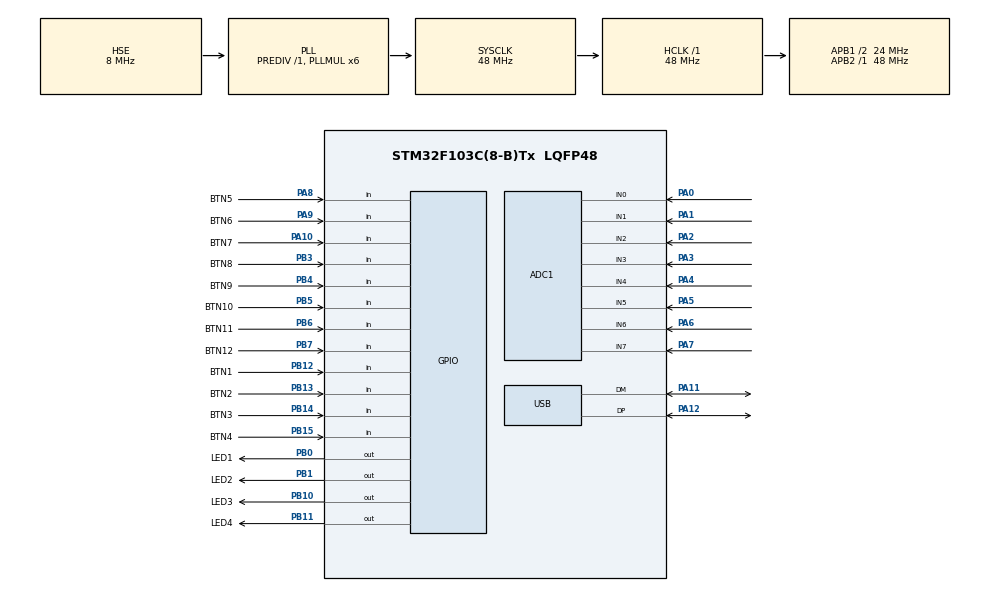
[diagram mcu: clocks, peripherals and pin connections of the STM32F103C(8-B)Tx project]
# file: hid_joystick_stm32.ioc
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ADC1.Channel-0\#ChannelRegularConversion=ADC_CHANNEL_0
ADC1.Channel-1\#ChannelRegularConversion=ADC_CHANNEL_1
ADC1.Channel-2\#ChannelRegularConversion=ADC_CHANNEL_2
ADC1.Channel-3\#ChannelRegularConversion=ADC_CHANNEL_3
ADC1.Channel-4\#ChannelRegularConversion=ADC_CHANNEL_4
ADC1.Channel-5\#ChannelRegularConversion=ADC_CHANNEL_5
ADC1.Channel-6\#ChannelRegularConversion=ADC_CHANNEL_6
ADC1.Channel-7\#ChannelRegularConversion=ADC_CHANNEL_7
ADC1.ContinuousConvMode=DISABLE
ADC1.DataAlign=ADC_DATAALIGN_RIGHT
ADC1.DiscontinuousConvMode=DISABLE
ADC1.EnableAnalogWatchDog=false
ADC1.EnableRegularConversion=ENABLE
ADC1.ExternalTrigConv=ADC_EXTERNALTRIGCONV_T3_TRGO
ADC1.InjNumberOfConversion=0
ADC1.NbrOfConversion=8
ADC1.NbrOfConversionFlag=1
ADC1.Rank-0\#ChannelRegularConversion=1
ADC1.Rank-1\#ChannelRegularConversion=2
ADC1.Rank-2\#ChannelRegularConversion=3
ADC1.Rank-3\#ChannelRegularConversion=4
ADC1.Rank-4\#ChannelRegularConversion=5
ADC1.Rank-5\#ChannelRegularConversion=6
ADC1.Rank-6\#ChannelRegularConversion=7
ADC1.Rank-7\#ChannelRegularConversion=8
ADC1.SamplingTime-0\#ChannelRegularConversion=ADC_SAMPLETIME_1CYCLE_5
ADC1.SamplingTime-1\#ChannelRegularConversion=ADC_SAMPLETIME_1CYCLE_5
ADC1.SamplingTime-2\#ChannelRegularConversion=ADC_SAMPLETIME_1CYCLE_5
ADC1.SamplingTime-3\#ChannelRegularConversion=ADC_SAMPLETIME_1CYCLE_5
ADC1.SamplingTime-4\#ChannelRegularConversion=ADC_SAMPLETIME_1CYCLE_5
ADC1.SamplingTime-5\#ChannelRegularConversion=ADC_SAMPLETIME_1CYCLE_5
ADC1.SamplingTime-6\#ChannelRegularConversion=ADC_SAMPLETIME_1CYCLE_5
ADC1.SamplingTime-7\#ChannelRegularConversion=ADC_SAMPLETIME_1CYCLE_5
ADC1.ScanConvMode=ADC_SCAN_ENABLE
ADC1.master=1
Dma.ADC1.0.Direction=DMA_PERIPH_TO_MEMORY
Dma.ADC1.0.Instance=DMA1_Channel1
Dma.ADC1.0.MemDataAlignment=DMA_MDATAALIGN_HALFWORD
Dma.ADC1.0.MemInc=DMA_MINC_ENABLE
Dma.ADC1.0.Mode=DMA_CIRCULAR
Dma.ADC1.0.PeriphDataAlignment=DMA_PDATAALIGN_HALFWORD
Dma.ADC1.0.PeriphInc=DMA_PINC_DISABLE
Dma.ADC1.0.Priority=DMA_PRIORITY_MEDIUM
Dma.Request0=ADC1
Mcu.Family=STM32F1
Mcu.Name=STM32F103C(8-B)Tx
Mcu.Package=LQFP48
NVIC.DMA1_Channel1_IRQn=true\:0\:0\:false\:false\:true\:true
NVIC.PriorityGroup=NVIC_PRIORITYGROUP_4
NVIC.USB_LP_CAN1_RX0_IRQn=true\:0\:0\:false\:false\:true\:true
PA0-WKUP.Signal=ADCx_IN0
PA1.Signal=ADCx_IN1
PA10.GPIO_Label=BTN7
PA10.GPIO_PuPd=GPIO_PULLUP
PA10.Signal=GPIO_Input
PA11.Mode=Device
PA11.Signal=USB_DM
PA12.Mode=Device
PA12.Signal=USB_DP
PA13.Mode=Serial_Wire
PA13.Signal=SYS_JTMS-SWDIO
PA14.Mode=Serial_Wire
PA14.Signal=SYS_JTCK-SWCLK
PA2.Signal=ADCx_IN2
PA3.Signal=ADCx_IN3
PA4.Signal=ADCx_IN4
PA5.Signal=ADCx_IN5
PA6.Signal=ADCx_IN6
PA7.Signal=ADCx_IN7
PA8.GPIO_Label=BTN5
PA8.GPIO_PuPd=GPIO_PULLUP
PA8.Signal=GPIO_Input
PA9.GPIO_Label=BTN6
PA9.GPIO_PuPd=GPIO_PULLUP
PA9.Signal=GPIO_Input
PB0.GPIO_Label=LED1
PB0.Signal=GPIO_Output
PB1.GPIO_Label=LED2
PB1.Signal=GPIO_Output
PB10.GPIO_Label=LED3
PB10.Signal=GPIO_Output
PB11.GPIO_Label=LED4
PB11.Signal=GPIO_Output
PB12.GPIO_Label=BTN1
PB12.GPIO_PuPd=GPIO_PULLUP
PB12.Signal=GPIO_Input
PB13.GPIO_Label=BTN2
PB13.GPIO_PuPd=GPIO_PULLUP
PB13.Signal=GPIO_Input
PB14.GPIO_Label=BTN3
PB14.GPIO_PuPd=GPIO_PULLUP
PB14.Signal=GPIO_Input
PB15.GPIO_Label=BTN4
PB15.GPIO_PuPd=GPIO_PULLUP
PB15.Signal=GPIO_Input
PB3.GPIO_Label=BTN8
PB3.GPIO_PuPd=GPIO_PULLUP
PB3.Signal=GPIO_Input
PB4.GPIO_Label=BTN9
PB4.GPIO_PuPd=GPIO_PULLUP
PB4.Signal=GPIO_Input
PB5.GPIO_Label=BTN10
PB5.GPIO_PuPd=GPIO_PULLUP
PB5.Signal=GPIO_Input
PB6.GPIO_Label=BTN11
PB6.GPIO_PuPd=GPIO_PULLUP
PB6.Signal=GPIO_Input
PB7.GPIO_Label=BTN12
PB7.GPIO_PuPd=GPIO_PULLUP
PB7.Signal=GPIO_Input
PD0-OSC_IN.Mode=HSE-External-Oscillator
PD0-OSC_IN.Signal=RCC_OSC_IN
PD1-OSC_OUT.Mode=HSE-External-Oscillator
PD1-OSC_OUT.Signal=RCC_OSC_OUT
ProjectManager.HeapSize=0x200
ProjectManager.StackSize=0x400
ProjectManager.TargetToolchain=MDK-ARM V5
RCC.ADCPresc=RCC_ADCPCLK2_DIV4
RCC.AHBFreq_Value=48000000
RCC.APB1CLKDivider=RCC_HCLK_DIV2
RCC.APB1Freq_Value=24000000
RCC.APB1TimFreq_Value=48000000
RCC.APB2Freq_Value=48000000
RCC.APB2TimFreq_Value=48000000
RCC.HCLKFreq_Value=48000000
RCC.PLLMUL=RCC_PLL_MUL6
RCC.SYSCLKFreq_VALUE=48000000
RCC.SYSCLKSource=RCC_SYSCLKSOURCE_PLLCLK
RCC.USBFreq_Value=48000000
SH.ADCx_IN0.0=ADC1_IN0,IN0
SH.ADCx_IN1.0=ADC1_IN1,IN1
SH.ADCx_IN2.0=ADC1_IN2,IN2
SH.ADCx_IN3.0=ADC1_IN3,IN3
SH.ADCx_IN4.0=ADC1_IN4,IN4
SH.ADCx_IN5.0=ADC1_IN5,IN5
SH.ADCx_IN6.0=ADC1_IN6,IN6
SH.ADCx_IN7.0=ADC1_IN7,IN7
TIM3.Period=1000
TIM3.Prescaler=48
TIM3.TIM_MasterOutputTrigger=TIM_TRGO_UPDATE
USB.ep0_mps=DEP0CTL_MPS_64
USB_DEVICE.CLASS_NAME_FS=HID
USB_DEVICE.MANUFACTURER_STRING=STMicroelectronics
USB_DEVICE.PID_HID_FS=0x5757
USB_DEVICE.PRODUCT_STRING_HID_FS=FeelCustom OpenJoy
USB_DEVICE.VID=0x0483
USB_DEVICE.VirtualMode=Hid
USB_DEVICE.VirtualModeFS=Hid_FS
VP_TIM3_VS_ClockSourceINT.Mode=Internal
VP_USB_DEVICE_VS_USB_DEVICE_HID_FS.Mode=HID_FS
board=hid_joystick_stm32

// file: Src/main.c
/**
  ******************************************************************************
  * File Name          : main.c
  * Description        : Main program body
  ******************************************************************************
  * This notice applies to any and all portions of this file
  * that are not between comment pairs USER CODE BEGIN and
  * USER CODE END. Other portions of this file, whether
  * inserted by the user or by software development tools
  * are owned by their respective copyright owners.
  *
  * Copyright (c) 2018 STMicroelectronics International N.V.
  * All rights reserved.
  *
  * Redistribution and use in source and binary forms, with or without
  * modification, are permitted, provided that the following conditions are met:
  *
  * 1. Redistribution of source code must retain the above copyright notice,
  *    this list of conditions and the following disclaimer.
  * 2. Redistributions in binary form must reproduce the above copyright notice,
  *    this list of conditions and the following disclaimer in the documentation
  *    and/or other materials provided with the distribution.
  * 3. Neither the name of STMicroelectronics nor the names of other
  *    contributors to this software may be used to endorse or promote products
  *    derived from this software without specific written permission.
  * 4. This software, including modifications and/or derivative works of this
  *    software, must execute solely and exclusively on microcontroller or
  *    microprocessor devices manufactured by or for STMicroelectronics.
  * 5. Redistribution and use of this software other than as permitted under
  *    this license is void and will automatically terminate your rights under
  *    this license.
  *
  * THIS SOFTWARE IS PROVIDED BY STMICROELECTRONICS AND CONTRIBUTORS "AS IS"
  * AND ANY EXPRESS, IMPLIED OR STATUTORY WARRANTIES, INCLUDING, BUT NOT
  * LIMITED TO, THE IMPLIED WARRANTIES OF MERCHANTABILITY, FITNESS FOR A
  * PARTICULAR PURPOSE AND NON-INFRINGEMENT OF THIRD PARTY INTELLECTUAL PROPERTY
  * RIGHTS ARE DISCLAIMED TO THE FULLEST EXTENT PERMITTED BY LAW. IN NO EVENT
  * SHALL STMICROELECTRONICS OR CONTRIBUTORS BE LIABLE FOR ANY DIRECT, INDIRECT,
  * INCIDENTAL, SPECIAL, EXEMPLARY, OR CONSEQUENTIAL DAMAGES (INCLUDING, BUT NOT
  * LIMITED TO, PROCUREMENT OF SUBSTITUTE GOODS OR SERVICES; LOSS OF USE, DATA,
  * OR PROFITS; OR BUSINESS INTERRUPTION) HOWEVER CAUSED AND ON ANY THEORY OF
  * LIABILITY, WHETHER IN CONTRACT, STRICT LIABILITY, OR TORT (INCLUDING
  * NEGLIGENCE OR OTHERWISE) ARISING IN ANY WAY OUT OF THE USE OF THIS SOFTWARE,
  * EVEN IF ADVISED OF THE POSSIBILITY OF SUCH DAMAGE.
  *
  ******************************************************************************
  */
#include "main.h"
#include "stm32f1xx_hal.h"
#include "adc.h"
#include "dma.h"
#include "tim.h"
#include "usb_device.h"
#include "gpio.h"

/* USER CODE BEGIN Includes */
#include "usbd_hid.h"

/* USER CODE END Includes */

/* USER CODE BEGIN PV */
/* Private variables ---------------------------------------------------------*/
volatile uint8_t data_ready = 0;

#if (AXIS_NUM > 0)
uint32_t filter_buf[AXIS_NUM][FILTER_WINDOW_SIZE];
#endif
uint16_t report_data[AXIS_NUM + BUTTONS_ENABLED];

uint16_t buttons_state;
uint16_t ADC_data[ADC_CHANNELS_NUM];

/* USER CODE END PV */

void SystemClock_Config(void);

/* USER CODE BEGIN PFP */
/* Private function prototypes -----------------------------------------------*/
uint16_t FilterWindow (uint32_t * p_buf, uint16_t new_val);

/* USER CODE END PFP */

int main(void)
{

  /* MCU Configuration----------------------------------------------------------*/

  /* Reset of all peripherals, Initializes the Flash interface and the Systick. */
  HAL_Init();

  /* Configure the system clock */
  SystemClock_Config();

  /* Initialize all configured peripherals */
  MX_GPIO_Init();
  MX_DMA_Init();
  MX_USB_DEVICE_Init();
  MX_ADC1_Init();
  MX_TIM3_Init();

  /* USER CODE BEGIN 2 */
	if(HAL_TIM_Base_Start_IT(&htim3) != HAL_OK) Error_Handler();
  if(HAL_ADC_Start_DMA(&hadc1,(uint32_t*)&ADC_data[0],8*sizeof(uint16_t)) != HAL_OK) Error_Handler();
  /* USER CODE END 2 */

  /* Infinite loop */
  while (1)
  {

  /* USER CODE BEGIN 3 */
		if (data_ready != 0)
		{
			GPIO_Poll(&buttons_state);

#if (AXIS_NUM > 0)
				for (uint8_t i=0; i<AXIS_NUM; i++)
					report_data[i] = FilterWindow(filter_buf[i], ADC_data[i]);
#endif

#if (BUTTONS_ENABLED == 1)
			report_data[AXIS_NUM] = buttons_state;
#endif

			USBD_HID_SendReport(&hUsbDeviceFS, (uint8_t*) &report_data, (AXIS_NUM + BUTTONS_ENABLED)*sizeof(uint16_t));
			data_ready = 0;
		}
  }
  /* USER CODE END 3 */

}

/** System Clock Configuration
*/
void SystemClock_Config(void)
{

  RCC_OscInitTypeDef RCC_OscInitStruct;
  RCC_ClkInitTypeDef RCC_ClkInitStruct;
  RCC_PeriphCLKInitTypeDef PeriphClkInit;

    /**Initializes the CPU, AHB and APB busses clocks
    */
  RCC_OscInitStruct.OscillatorType = RCC_OSCILLATORTYPE_HSE;
  RCC_OscInitStruct.HSEState = RCC_HSE_ON;
  RCC_OscInitStruct.HSEPredivValue = RCC_HSE_PREDIV_DIV1;
  RCC_OscInitStruct.HSIState = RCC_HSI_ON;
  RCC_OscInitStruct.PLL.PLLState = RCC_PLL_ON;
  RCC_OscInitStruct.PLL.PLLSource = RCC_PLLSOURCE_HSE;
  RCC_OscInitStruct.PLL.PLLMUL = RCC_PLL_MUL6;
  if (HAL_RCC_OscConfig(&RCC_OscInitStruct) != HAL_OK)
  {
    _Error_Handler(__FILE__, __LINE__);
  }

    /**Initializes the CPU, AHB and APB busses clocks
    */
  RCC_ClkInitStruct.ClockType = RCC_CLOCKTYPE_HCLK|RCC_CLOCKTYPE_SYSCLK
                              |RCC_CLOCKTYPE_PCLK1|RCC_CLOCKTYPE_PCLK2;
  RCC_ClkInitStruct.SYSCLKSource = RCC_SYSCLKSOURCE_PLLCLK;
  RCC_ClkInitStruct.AHBCLKDivider = RCC_SYSCLK_DIV1;
  RCC_ClkInitStruct.APB1CLKDivider = RCC_HCLK_DIV2;
  RCC_ClkInitStruct.APB2CLKDivider = RCC_HCLK_DIV1;

  if (HAL_RCC_ClockConfig(&RCC_ClkInitStruct, FLASH_LATENCY_1) != HAL_OK)
  {
    _Error_Handler(__FILE__, __LINE__);
  }

  PeriphClkInit.PeriphClockSelection = RCC_PERIPHCLK_ADC|RCC_PERIPHCLK_USB;
  PeriphClkInit.AdcClockSelection = RCC_ADCPCLK2_DIV4;
  PeriphClkInit.UsbClockSelection = RCC_USBCLKSOURCE_PLL;
  if (HAL_RCCEx_PeriphCLKConfig(&PeriphClkInit) != HAL_OK)
  {
    _Error_Handler(__FILE__, __LINE__);
  }

    /**Configure the Systick interrupt time
    */
  HAL_SYSTICK_Config(HAL_RCC_GetHCLKFreq()/1000);

    /**Configure the Systick
    */
  HAL_SYSTICK_CLKSourceConfig(SYSTICK_CLKSOURCE_HCLK);

  /* SysTick_IRQn interrupt configuration */
  HAL_NVIC_SetPriority(SysTick_IRQn, 0, 0);
}

/* USER CODE BEGIN 4 */

uint16_t FilterWindow (uint32_t * p_buf, uint16_t new_val)
{
	uint16_t ret;

	p_buf[FILTER_WINDOW_SIZE-1] = new_val;

	for (uint8_t i=2; i<=FILTER_WINDOW_SIZE; i++)
	{
		p_buf[FILTER_WINDOW_SIZE-1] += p_buf[FILTER_WINDOW_SIZE - i];
	}

	p_buf[FILTER_WINDOW_SIZE-1] /= FILTER_WINDOW_SIZE;

	ret = p_buf[FILTER_WINDOW_SIZE-1];

	for (int i=0; i<FILTER_WINDOW_SIZE; i++)
	{
		p_buf[i-1] = p_buf[i];
	}

		return ret;
}

/* USER CODE END 4 */

void _Error_Handler(char * file, int line)
{
  while(1)
  {
  }
}

/************************ (C) COPYRIGHT STMicroelectronics *****END OF FILE****/
